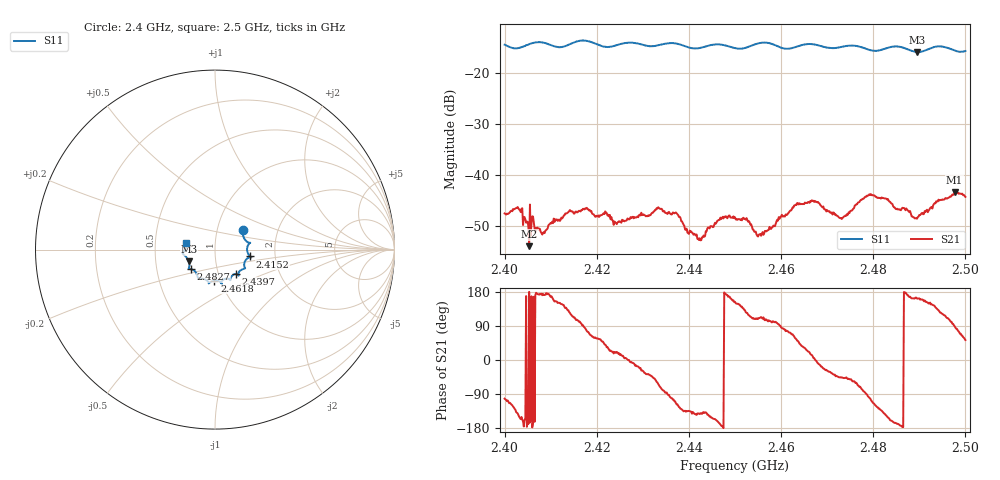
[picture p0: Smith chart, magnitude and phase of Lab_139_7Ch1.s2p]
# Hz S RI R 50
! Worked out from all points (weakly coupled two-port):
!   601 points, 2.4 GHz to 2.5 GHz, reference 50 ohm
!   highest |S21| = -43.33 dB at 2.4977 GHz (marker M1); lowest = -53.9 dB at 2.4053 GHz (marker M2)
!   lowest |S11| = -15.9 dB at 2.4895 GHz (marker M3), VSWR 1.38, Z = 37 - j5.01 ohm
!   |S11| at or under -10 dB: start of sweep to end of sweep
!   S12 and S22 are empty: the file has one direction only
!   S11 on the Smith chart (normalised r, x): 2.4 GHz: 1.33, +0.30; 2.4152 GHz: 1.48, -0.12; 2.4397 GHz: 1.21, -0.34; 2.4618 GHz: 0.94, -0.33; 2.4827 GHz: 0.75, -0.17; 2.5 GHz: 0.72, +0.06
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2.4e9  0.1555 0.1069  -0.000885 -0.00414  0 0  0 0
2.403333e9  0.1677 0.0549  -0.00407 -0.0021  0 0  0 0
2.405333e9  0.1867 0.0386  -0.00203 1.1e-05  0 0  0 0
2.408333e9  0.1947 0.037  -0.00271 0.00027  0 0  0 0
2.415167e9  0.1957 -0.0382  -0.00161 0.00391  0 0  0 0
2.416667e9  0.2028 -0.0433  -0.000466 0.00456  0 0  0 0
2.424167e9  0.1629 -0.0896  0.00326 0.00111  0 0  0 0
2.433333e9  0.1298 -0.1339  0.00218 -0.00436  0 0  0 0
2.4375e9  0.1305 -0.1419  -0.0019 -0.00372  0 0  0 0
2.439667e9  0.1168 -0.1358  -0.00196 -0.00194  0 0  0 0
2.442333e9  0.0928 -0.1485  -0.00192 -0.00147  0 0  0 0
2.45e9  0.0656 -0.162  -0.00348 0.00174  0 0  0 0
2.455333e9  0.0369 -0.1923  -0.000939 0.00247  0 0  0 0
2.461833e9  -0.00322 -0.1728  0.00132 0.00423  0 0  0 0
2.466667e9  -0.035 -0.1881  0.00554 0.0013  0 0  0 0
2.473e9  -0.0808 -0.1598  0.00265 -0.00276  0 0  0 0
2.479e9  -0.1032 -0.1335  -0.000831 -0.00633  0 0  0 0
2.482667e9  -0.1349 -0.1086  -0.00484 -0.00342  0 0  0 0
2.483333e9  -0.1401 -0.1084  -0.00504 -0.00258  0 0  0 0
2.4895e9  -0.1457 -0.066  -0.00358 0.00116  0 0  0 0
2.497667e9  -0.1656 0.000185  0.000113 0.00681  0 0  0 0
2.5e9  -0.1592 0.0382  0.00372 0.00489  0 0  0 0
